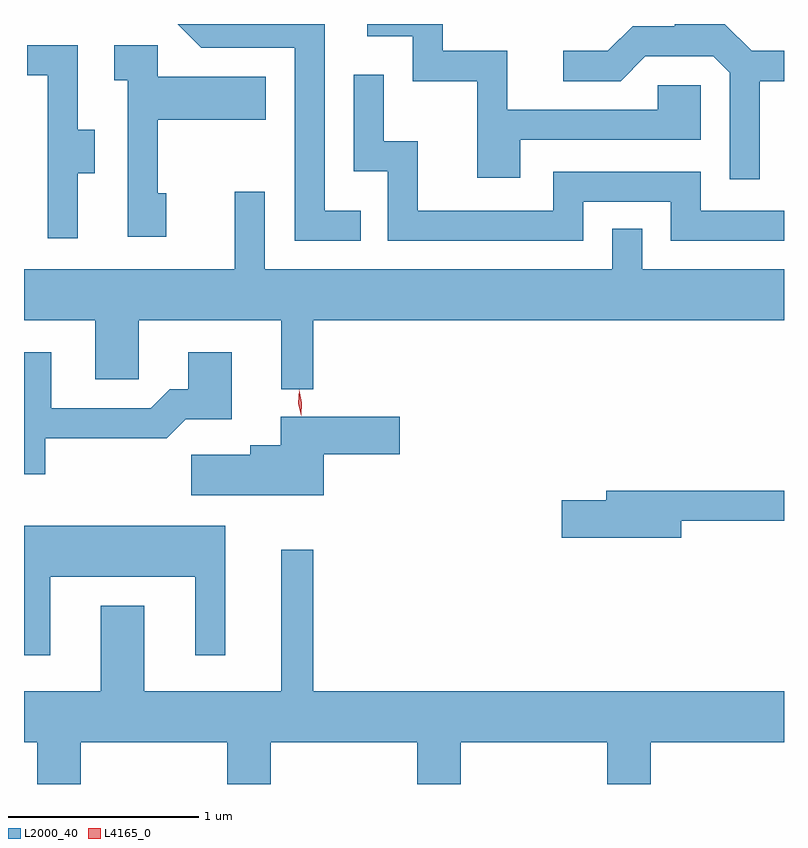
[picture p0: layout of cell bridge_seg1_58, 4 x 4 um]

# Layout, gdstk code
import gdstk
lib = gdstk.Library(unit=1e-6, precision=1e-09)
def P(c, l, *ps):  # polygons
    for p in ps: c.add(gdstk.Polygon(p, *l))
L2000_40 = (2000, 40)
L4165_0 = (4165, 0)

bridge_seg1_58 = lib.new_cell('bridge_seg1_58')
P(bridge_seg1_58, L2000_40, [(1822.329,953.806),(1823.279,953.806),(1823.279,954.094),(1823.051,954.094),(1823.051,953.964),(1822.259,953.964),(1822.259,954.274),(1821.919,954.274),(1821.919,954.416),(1821.523,954.416),(1821.523,954.351),(1821.761,954.351),(1821.761,954.116),(1822.101,954.116),(1822.101,953.606),(1822.329,953.606)],
  [(1821.488,953.434),(1821.299,953.434),(1821.299,954.416),(1820.524,954.416),(1820.649,954.291),(1821.141,954.291),(1821.141,953.276),(1821.488,953.276)],
  [(1823.589,954.116),(1823.716,954.116),(1823.716,954.274),(1823.547,954.274),(1823.405,954.416),(1823.141,954.416),(1823.141,954.404),(1822.919,954.404),(1822.789,954.274),(1822.553,954.274),(1822.553,954.116),(1822.857,954.116),(1822.987,954.246),(1823.344,954.246),(1823.431,954.159),(1823.431,953.598),(1823.589,953.598)],
  [(1819.999,953.631),(1820.089,953.631),(1820.089,953.859),(1819.999,953.859),(1819.999,954.304),(1819.733,954.304),(1819.733,954.146),(1819.841,954.146),(1819.841,953.288),(1819.999,953.288)],
  [(1820.464,953.524),(1820.419,953.524),(1820.419,953.911),(1820.989,953.911),(1820.989,954.139),(1820.419,954.139),(1820.419,954.304),(1820.191,954.304),(1820.191,954.121),(1820.261,954.121),(1820.261,953.296),(1820.464,953.296)],
  [(1822.659,953.481),(1823.121,953.481),(1823.121,953.276),(1823.716,953.276),(1823.716,953.434),(1823.279,953.434),(1823.279,953.639),(1822.501,953.639),(1822.501,953.434),(1821.789,953.434),(1821.789,953.799),(1821.609,953.799),(1821.609,954.148),(1821.451,954.148),(1821.451,953.641),(1821.631,953.641),(1821.631,953.276),(1822.659,953.276)],
  [(1821.239,952.856),(1823.716,952.856),(1823.716,953.124),(1822.969,953.124),(1822.969,953.338),(1822.811,953.338),(1822.811,953.124),(1820.984,953.124),(1820.984,953.533),(1820.826,953.533),(1820.826,953.124),(1819.716,953.124),(1819.716,952.856),(1820.091,952.856),(1820.091,952.546),(1820.319,952.546),(1820.319,952.856),(1821.071,952.856),(1821.071,952.493),(1821.239,952.493)],
  [(1819.829,952.236),(1820.467,952.236),(1820.567,952.336),(1820.809,952.336),(1820.809,952.689),(1820.581,952.689),(1820.581,952.494),(1820.484,952.494),(1820.384,952.394),(1819.859,952.394),(1819.859,952.689),(1819.716,952.689),(1819.716,952.046),(1819.829,952.046)],
  [(1821.294,952.151),(1821.694,952.151),(1821.694,952.349),(1821.066,952.349),(1821.066,952.199),(1820.906,952.199),(1820.906,952.149),(1820.596,952.149),(1820.596,951.936),(1821.294,951.936)],
  [(1823.174,951.801),(1823.716,951.801),(1823.716,951.959),(1822.781,951.959),(1822.781,951.909),(1822.546,951.909),(1822.546,951.711),(1823.174,951.711)],
  [(1819.854,951.506),(1820.616,951.506),(1820.616,951.093),(1820.774,951.093),(1820.774,951.774),(1819.716,951.774),(1819.716,951.093),(1819.854,951.093)],
  [(1820.014,950.636),(1820.786,950.636),(1820.786,950.416),(1821.014,950.416),(1821.014,950.636),(1821.786,950.636),(1821.786,950.416),(1822.014,950.416),(1822.014,950.636),(1822.786,950.636),(1822.786,950.416),(1823.014,950.416),(1823.014,950.636),(1823.716,950.636),(1823.716,950.904),(1821.239,950.904),(1821.239,951.648),(1821.071,951.648),(1821.071,950.904),(1820.349,950.904),(1820.349,951.354),(1820.121,951.354),(1820.121,950.904),(1819.716,950.904),(1819.716,950.636),(1819.786,950.636),(1819.786,950.416),(1820.014,950.416)])
P(bridge_seg1_58, L4165_0, [(1821.175,952.353),(1821.174,952.354),(1821.16,952.421),(1821.164,952.489),(1821.164,952.49),(1821.165,952.489),(1821.179,952.422),(1821.175,952.354)])

lib.write_gds('bridge_seg1_58.gds')
